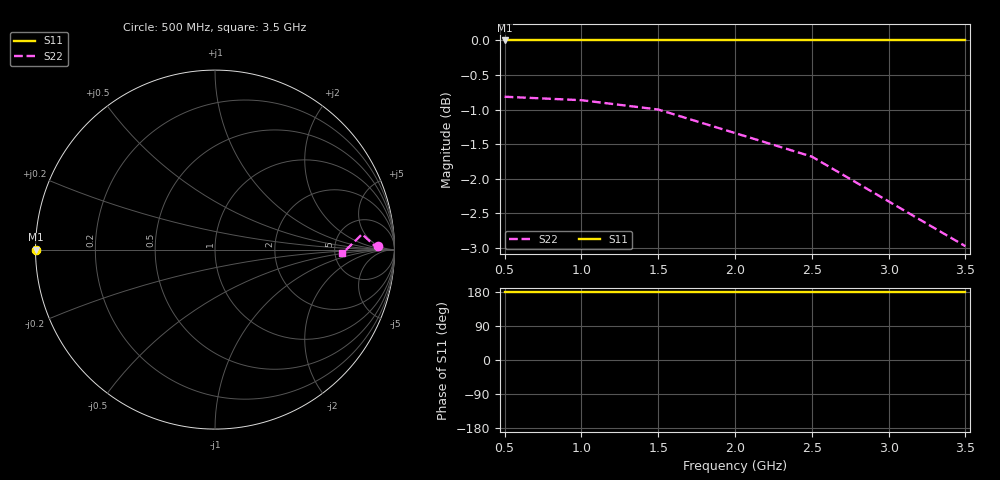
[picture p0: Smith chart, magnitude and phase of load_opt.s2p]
#  Hz  Z  RI  R  1
! optimized zl for cgh40025
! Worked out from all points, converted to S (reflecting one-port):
!   5 points, 500 MHz to 3.5 GHz, reference 1 ohm
!   lowest |S11| = 0.0 dB at 500 MHz (marker M1)
!   phase of S11 starts at 180 deg and turns +0 deg over the sweep
5e8  0 0  0 0  0 0  20 5.2
1e9  0 0  0 0  0 0  17.6 6.66
1.5e9  0 0  0 0  0 0  16.8 3.2
2.5e9  0 0  0 0  0 0  8.02 4.32
3.5e9  0 0  0 0  0 0  5.85 -0.51
